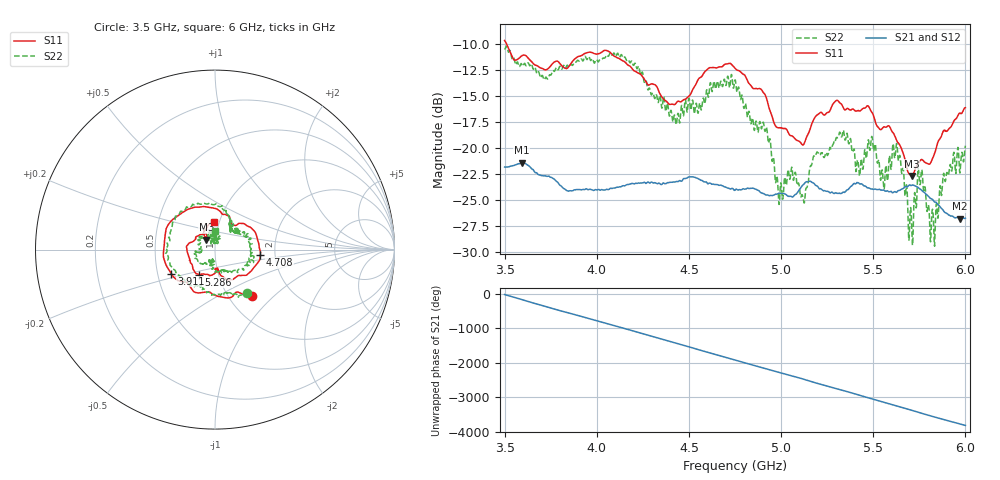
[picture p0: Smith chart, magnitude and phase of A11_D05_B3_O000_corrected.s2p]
! Created with skrf 1.9.0 (http://scikit-rf.org).
# Hz S RI R 50.0
!freq ReS11 ImS11 ReS21 ImS21 ReS12 ImS12 ReS22 ImS22
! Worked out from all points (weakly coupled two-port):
!   1601 points, 3.5 GHz to 6 GHz, reference 50 ohm
!   highest |S21| = -21.42 dB at 3.594 GHz (marker M1); lowest = -26.8 dB at 5.972 GHz (marker M2)
!   lowest |S11| = -22.7 dB at 5.709 GHz (marker M3), VSWR 1.16, Z = 45.2 + j5.07 ohm
!   |S11| at or under -10 dB: 3.512 GHz to end of sweep
!   |S22| runs from -29.5 to -10.2 dB; largest |S21 - S12| = 0.00092
!   S11 on the Smith chart (normalised r, x): 3.5 GHz: 1.28, -0.74; 3.911 GHz: 0.59, -0.17; 4.708 GHz: 1.67, -0.11; 5.286 GHz: 0.81, -0.23; 6 GHz: 0.94, +0.30
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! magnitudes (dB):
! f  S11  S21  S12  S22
! 3.5 GHz  -9.6  -21.8  -21.8  -10.4
! 3.594 GHz  -11.1  -21.4  -21.4  -12.0
! 3.911 GHz  -11.1  -24.0  -24.0  -11.5
! 3.917 GHz  -11.1  -24.0  -24.0  -11.4
! 4.142 GHz  -11.6  -23.6  -23.6  -11.3
! 4.334 GHz  -14.4  -23.4  -23.4  -15.6
! 4.439 GHz  -15.5  -23.2  -23.2  -16.7
! 4.708 GHz  -11.9  -23.8  -23.8  -13.2
! 4.75 GHz  -12.3  -24.1  -24.0  -13.4
! 4.912 GHz  -14.8  -24.5  -24.4  -18.4
! 4.998 GHz  -18.1  -24.4  -24.3  -23.4
! 5.048 GHz  -18.8  -24.6  -24.7  -23.0
! 5.119 GHz  -19.7  -23.6  -23.5  -24.8
! 5.167 GHz  -17.6  -23.3  -23.3  -21.5
! 5.286 GHz  -15.6  -24.4  -24.3  -19.5
! 5.584 GHz  -17.9  -24.2  -24.2  -21.3
! 5.636 GHz  -19.5  -24.1  -24.1  -21.1
! 5.709 GHz  -22.7  -23.6  -23.5  -27.9
! 5.753 GHz  -21.2  -23.9  -23.9  -23.5
! 5.822 GHz  -21.0  -24.9  -24.9  -25.9
! 5.972 GHz  -16.6  -26.8  -26.8  -22.2
! 6 GHz  -16.1  -26.8  -26.7  -19.8
